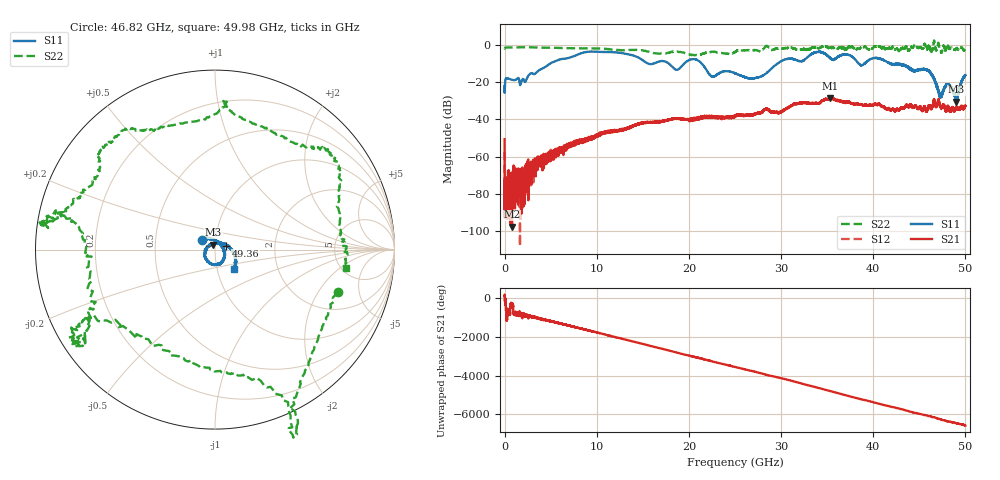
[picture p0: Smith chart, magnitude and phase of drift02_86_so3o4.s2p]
!Created with skrf (http://scikit-rf.org).
# Hz S RI R 50.0
!freq ReS11 ImS11 ReS21 ImS21 ReS12 ImS12 ReS22 ImS22
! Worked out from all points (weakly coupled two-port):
!   10001 points, 300 kHz to 50 GHz, reference 50 ohm
!   highest |S21| = -28.52 dB at 35.35 GHz (marker M1); lowest = -97.5 dB at 805.3 MHz (marker M2)
!   lowest |S11| = -30.6 dB at 49.02 GHz (marker M3), VSWR 1.06, Z = 49.1 + j2.77 ohm
!   |S11| at or under -10 dB: start of sweep to 4.956 GHz; 21.38 GHz to 29.62 GHz (8.239 GHz wide, 32.3 % of centre); 41.9 GHz to end of sweep (the widest 3 of 9)
!   |S22| runs from -5.7 to 2.3 dB; largest |S21 - S12| = 0.0033
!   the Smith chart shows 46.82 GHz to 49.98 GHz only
!   S11 on the Smith chart (normalised r, x): 46.82 GHz: 0.86, +0.09; 49.36 GHz: 1.13, +0.05; 49.98 GHz: 1.21, -0.27
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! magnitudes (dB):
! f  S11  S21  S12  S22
! 300 kHz  -22.3  -50.6  -57.5  -2.0
! 255.3 MHz  -17.9  -74.6  -72.7  -1.4
! 805.3 MHz  -18.8  -97.5  -70.8  -1.5
! 8.335 GHz  -4.5  -52.3  -51.3  -1.9
! 16.67 GHz  -9.1  -41.5  -41.3  -4.7
! 18.7 GHz  -13.4  -39.7  -39.5  -3.7
! 20.6 GHz  -7.7  -40.2  -40.0  -5.7
! 22.5 GHz  -17.1  -38.7  -38.8  -3.7
! 25 GHz  -15.3  -37.9  -38.5  -3.8
! 27.46 GHz  -17.6  -36.8  -36.5  -3.1
! 30.22 GHz  -8.3  -35.5  -35.3  -2.1
! 33.34 GHz  -4.9  -31.3  -31.3  -1.6
! 35.35 GHz  -7.2  -28.5  -28.7  -1.4
! 41.67 GHz  -9.6  -34.0  -34.3  -2.0
! 45.79 GHz  -13.6  -35.5  -35.9  -2.3
! 46.82 GHz  -21.2  -33.1  -33.3  -2.8
! 47.28 GHz  -27.3  -33.2  -33.2  -3.3
! 48.14 GHz  -21.6  -33.8  -33.4  -1.0
! 49.02 GHz  -30.6  -34.2  -33.8  -2.0
! 49.36 GHz  -23.5  -34.5  -34.5  -2.7
! 49.98 GHz  -16.3  -33.0  -32.9  -2.6
! 50 GHz  -16.4  -32.8  -32.5  -2.7
